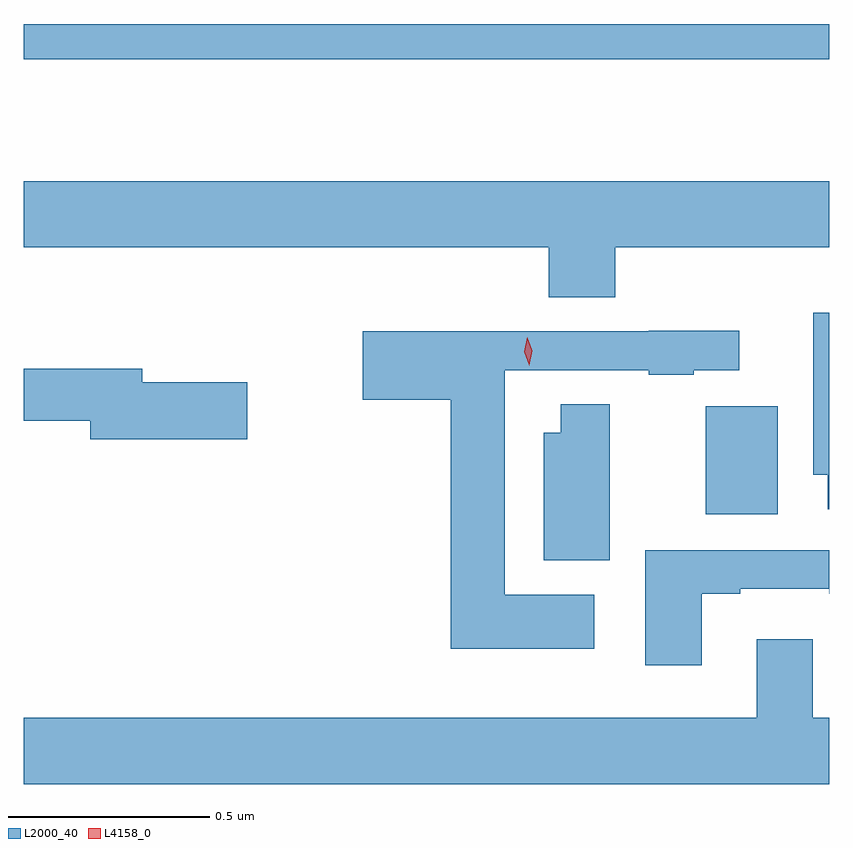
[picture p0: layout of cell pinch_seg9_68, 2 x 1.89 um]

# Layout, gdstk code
import gdstk
lib = gdstk.Library(unit=1e-6, precision=1e-09)
def R(c, l, rs):  # rectangles x0, y0, x1, y1
    for r in rs: c.add(gdstk.rectangle(r[:2], r[2:], *l))
def P(c, l, *ps):  # polygons
    for p in ps: c.add(gdstk.Polygon(p, *l))
L2000_40 = (2000, 40)
L4158_0 = (4158, 0)

pinch_seg9_68 = lib.new_cell('pinch_seg9_68')
R(pinch_seg9_68, L2000_40, [(939.209,1181.105,939.388,1181.374), (937.516,1182.234,939.516,1182.322)])
P(pinch_seg9_68, L2000_40, [(938.984,1181.768),(939.516,1181.768),(939.516,1181.932),(937.516,1181.932),(937.516,1181.768),(938.819,1181.768),(938.819,1181.644),(938.984,1181.644)],
  [(939.516,1181.605),(939.476,1181.605),(939.476,1181.204),(939.512,1181.204),(939.512,1181.118),(939.516,1181.118)],
  [(938.932,1180.906),(938.71,1180.906),(938.71,1181.463),(939.067,1181.463),(939.067,1181.451),(939.179,1181.451),(939.179,1181.463),(939.292,1181.463),(939.292,1181.561),(939.067,1181.561),(939.067,1181.559),(938.592,1181.559),(938.592,1181.56),(938.358,1181.56),(938.358,1181.39),(938.576,1181.39),(938.576,1180.772),(938.932,1180.772)],
  [(938.071,1181.433),(937.81,1181.433),(937.81,1181.467),(937.516,1181.467),(937.516,1181.338),(937.682,1181.338),(937.682,1181.291),(938.071,1181.291)],
  [(938.971,1181.378),(938.849,1181.378),(938.849,1181.308),(938.807,1181.308),(938.807,1180.991),(938.971,1180.991)],
  [(939.199,1180.908),(939.295,1180.908),(939.295,1180.92),(939.515,1180.92),(939.515,1180.908),(939.516,1180.908),(939.516,1181.016),(939.059,1181.016),(939.059,1180.731),(939.199,1180.731)],
  [(939.516,1180.6),(939.475,1180.6),(939.475,1180.795),(939.335,1180.795),(939.335,1180.6),(937.516,1180.6),(937.516,1180.436),(939.516,1180.436)])
P(pinch_seg9_68, L4158_0, [(938.771,1181.474),(938.771,1181.475),(938.758,1181.509),(938.766,1181.545),(938.766,1181.545),(938.766,1181.545),(938.778,1181.511),(938.771,1181.475)])

lib.write_gds('pinch_seg9_68.gds')
